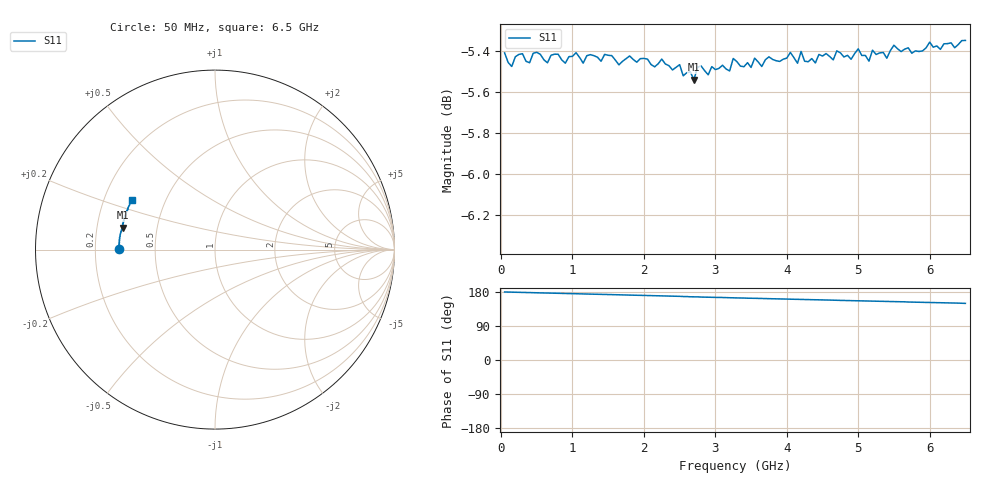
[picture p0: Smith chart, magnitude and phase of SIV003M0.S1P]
! (c) 1999  Infineon Technologies AG, Munich
! Infineon Technologies  Discrete & RF Semiconductors
! BAT24-02LS
! Si Schottky Diode in TSSLP-2
! IF = 3 mA
! S-Parameters:  July  2007
# GHz  S  MA  R  50
!  f  S11
! GHz  MAG  ANG
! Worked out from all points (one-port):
!   130 points, 50 MHz to 6.5 GHz, reference 50 ohm
!   lowest |S11| = -5.5 dB at 2.7 GHz (marker M1), VSWR 3.24, Z = 15.6 + j5.27 ohm
!   |S11| at or under -10 dB: nowhere
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0.05  0.5364 179.5
0.15  0.5324 179.0
0.25  0.536 178.6
0.4  0.5335 177.9
0.5  0.5366 177.4
0.9  0.5334 175.5
1.05  0.5365 174.8
1.15  0.5334 174.3
1.25  0.5359 173.9
1.7  0.5339 171.8
2.5  0.5329 168.0
2.55  0.5296 167.5
2.7  0.5284 166.7
2.75  0.5321 166.6
2.8  0.5325 166.1
2.9  0.5299 165.7
3.3  0.5339 163.8
4.1  0.535 160.3
4.9  0.5345 156.7
5  0.5377 156.3
5.15  0.534 155.6
5.2  0.5373 155.3
5.4  0.5348 154.7
5.5  0.5387 154.1
5.65  0.5376 153.5
5.7  0.538 153.0
6.35  0.538 150.3
6.5  0.5402 149.4
